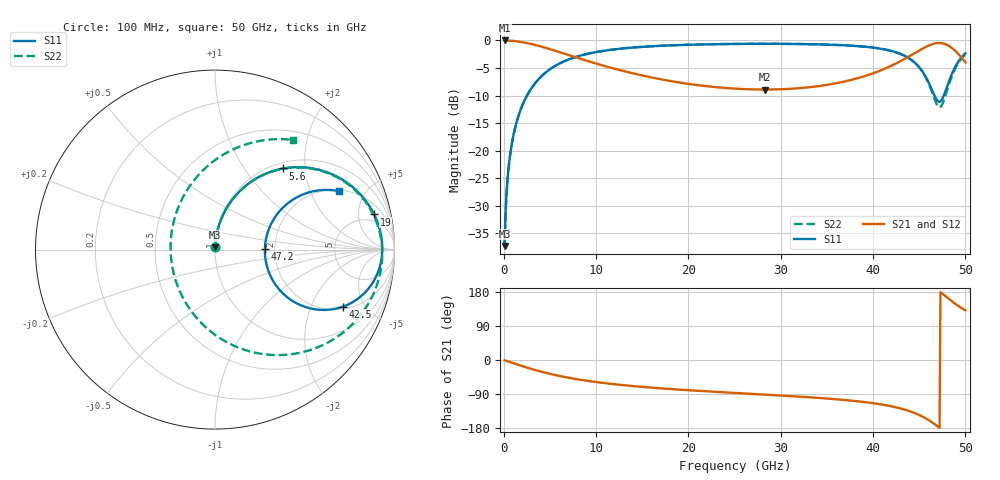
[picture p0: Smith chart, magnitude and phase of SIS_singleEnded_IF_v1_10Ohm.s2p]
! Touchstone file from project
# GHZ S MA R 10.000000
! Modal data exported
! Port[1] = IF_output:1
! Port[2] = RF_input:1
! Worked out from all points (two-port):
!   500 points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, 100 MHz to 50 GHz, reference 10 ohm
!   highest |S21| = 0.00 dB at 100 MHz (marker M1); lowest = -8.9 dB at 28.3 GHz (marker M2)
!   |S21| within 3 dB of the highest: start of sweep to 7.698 GHz; 43.78 GHz to 49.52 GHz (5.738 GHz wide, 12.3 % of centre)
!   lowest |S11| = -37.3 dB at 100 MHz (marker M3), VSWR 1.03, Z = 10 + j0.273 ohm
!   |S11| at or under -10 dB: start of sweep to 2.524 GHz; 46.65 GHz to 47.65 GHz (1.003 GHz wide, 2.13 % of centre)
!   |S22| runs from -37.3 to -0.6 dB; largest |S21 - S12| = 0
!   S11 on the Smith chart (normalised r, x): 100 MHz: 1.00, +0.03; 5.6 GHz: 1.11, +1.53; 19 GHz: 3.42, +7.65; 42.5 GHz: 2.13, -3.45; 47.2 GHz: 1.77, +0.02; 50 GHz: 2.07, +3.24
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0.1  0.01368 85.6  0.9995 -0.8  0.9995 -0.8  0.01365 89.2
! Gamma 5.665437E-003 5.282031E+000 0.000000E+000 0.000000E+000
! Port Impedance 1.000000E+001 0.000000E+000 1.000000E+001 0.000000E+000
0.4  0.05323 86.2  0.9977 -3.3  0.9977 -3.3  0.05255 85.2
0.7  0.0923 83.8  0.9946 -5.7  0.9946 -5.7  0.09178 83.3
1.6  0.2068 76.4  0.9764 -13.0  0.9764 -13.0  0.2068 76.5
3.2  0.3889 64.7  0.9189 -25.0  0.9189 -25.0  0.3889 64.6
5.6  0.5896 50.0  0.8049 -39.8  0.8049 -39.8  0.5898 49.8
8.5  0.7357 37.0  0.674 -52.9  0.674 -52.9  0.7358 36.6
16.8  0.8926 16.0  0.4479 -74.4  0.4479 -74.4  0.8928 14.9
19  0.9081 12.5  0.4157 -78.1  0.4157 -78.1  0.9083 11.1
25.1  0.9295 4.3  0.3654 -86.9  0.3654 -86.9  0.93 1.7
28.3  0.932 0.6  0.3589 -91.2  0.3589 -91.2  0.9327 -3.1
33.4  0.9237 -5.7  0.379 -98.8  0.379 -98.8  0.9245 -11.9
38.4  0.8871 -13.6  0.4563 -109.1  0.4563 -109.1  0.8883 -24.4
41.7  0.8132 -21.5  0.5752 -120.8  0.5752 -120.8  0.8146 -39.4
42.5  0.7794 -24.1  0.6193 -124.9  0.6193 -124.9  0.7805 -45.0
44.2  0.6615 -30.4  0.741 -137.1  0.741 -137.1  0.6611 -62.5
45.3  0.5302 -33.5  0.8375 -148.7  0.8375 -148.7  0.5263 -81.8
46.2  0.3855 -29.8  0.911 -161.4  0.911 -161.4  0.3737 -109.6
47.2  0.278 1.0  0.9476 -179.1  0.9476 -179.1  0.2476 -177.7
47.9  0.3589 26.4  0.92 167.2  0.92 167.2  0.3293 125.2
48.7  0.5335 32.6  0.8326 151.8  0.8326 151.8  0.5114 88.0
50  0.7643 25.2  0.6321 131.1  0.6321 131.1  0.7501 54.5
